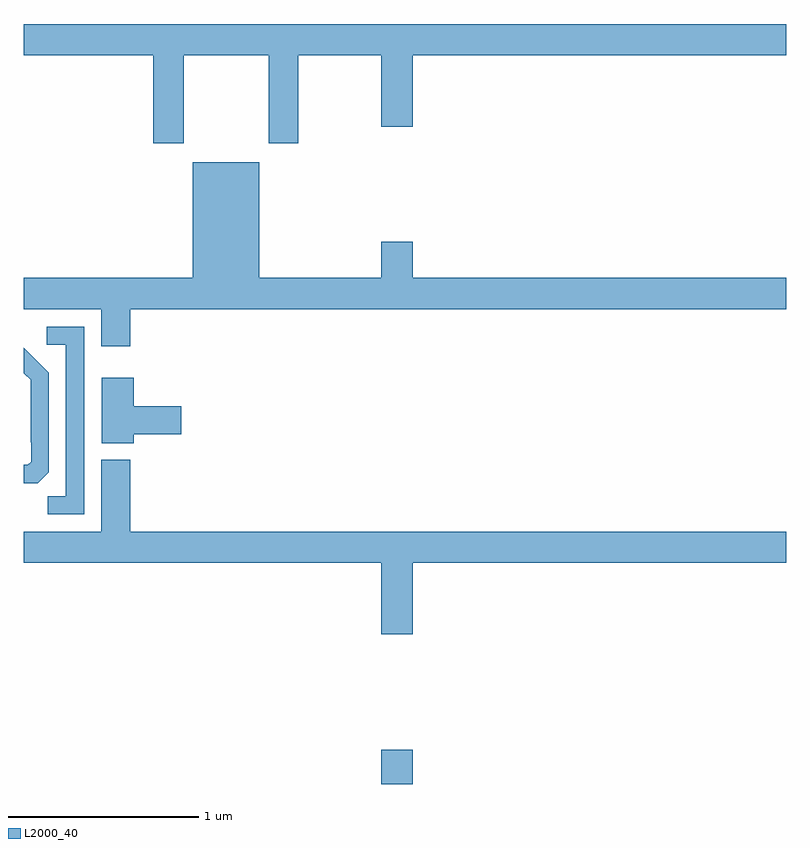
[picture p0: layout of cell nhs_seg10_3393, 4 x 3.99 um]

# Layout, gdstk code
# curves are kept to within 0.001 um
import gdstk
lib = gdstk.Library(unit=1e-6, precision=1e-09)
def R(c, l, rs):  # rectangles x0, y0, x1, y1
    for r in rs: c.add(gdstk.rectangle(r[:2], r[2:], *l))
def P(c, l, *ps):  # polygons
    for p in ps: c.add(gdstk.Polygon(p, *l))
L2000_40 = (2000, 40)

nhs_seg10_3393 = lib.new_cell('nhs_seg10_3393')
R(nhs_seg10_3393, L2000_40, [(296.876,1288.5,297.04,1288.681)])
P(nhs_seg10_3393, L2000_40, [(295.839,1292.324),(296.284,1292.324),(296.284,1291.863),(296.439,1291.863),(296.439,1292.324),(296.876,1292.324),(296.876,1291.95),(297.04,1291.95),(297.04,1292.324),(299,1292.324),(299,1292.488),(295,1292.488),(295,1292.324),(295.679,1292.324),(295.679,1291.863),(295.839,1291.863)],
  [(295.559,1290.992),(299,1290.992),(299,1291.156),(297.04,1291.156),(297.04,1291.345),(296.876,1291.345),(296.876,1291.156),(296.236,1291.156),(296.236,1291.762),(295.886,1291.762),(295.886,1291.156),(295,1291.156),(295,1290.992),(295.406,1290.992),(295.406,1290.798),(295.559,1290.798)],
  [(295.317,1290.9),(295.119,1290.9),(295.119,1290.804),(295.221,1290.804),(295.221,1290.011),(295.126,1290.011),(295.126,1289.916),(295.317,1289.916)],
  [(295.131,1290.136),(295.131,1290.658),(295,1290.79),(295,1290.656),(295.035,1290.621),(295.035,1290.292),(295.038,1290.292),(295.038,1290.192),(295.02,1290.174),(295,1290.174),(295,1290.077),(295.072,1290.077)],
  [(295.576,1290.335),(295.825,1290.335),(295.825,1290.482),(295.576,1290.482),(295.576,1290.631),(295.409,1290.631),(295.409,1290.287),(295.576,1290.287)],
  [(297.04,1289.66),(299,1289.66),(299,1289.824),(295.559,1289.824),(295.559,1290.202),(295.406,1290.202),(295.406,1289.824),(295,1289.824),(295,1289.66),(296.876,1289.66),(296.876,1289.286),(297.04,1289.286)])

lib.write_gds('nhs_seg10_3393.gds')
